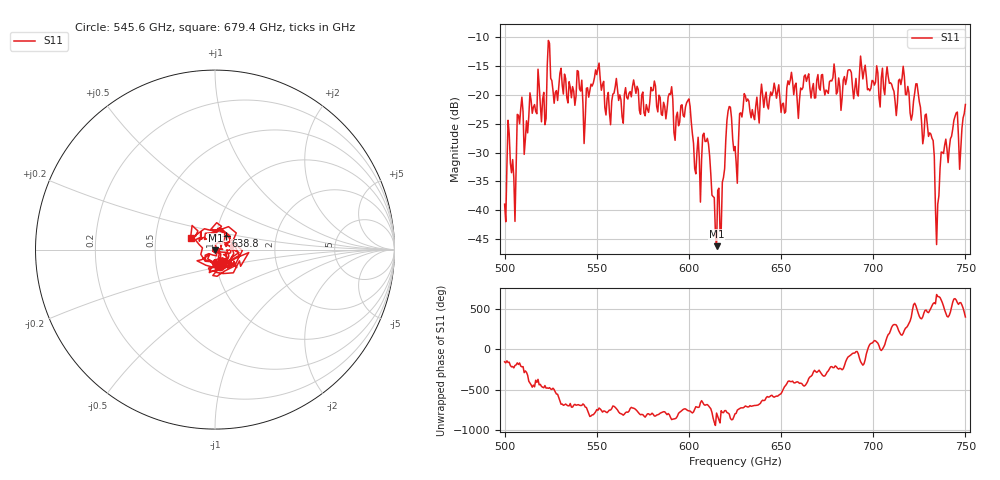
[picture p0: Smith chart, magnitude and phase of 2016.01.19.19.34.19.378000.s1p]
!Created with skrf (http://scikit-rf.org).
# GHz S RI R 50.0
!freq ReS11 ImS11
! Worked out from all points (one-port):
!   401 points, 500 GHz to 750 GHz, reference 50 ohm
!   lowest |S11| = -46.2 dB at 615 GHz (marker M1), VSWR 1.01, Z = 50.2 - j0.452 ohm
!   |S11| at or under -10 dB: start of sweep to end of sweep
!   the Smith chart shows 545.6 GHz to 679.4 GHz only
!   S11 on the Smith chart (normalised r, x): 545.6 GHz: 1.04, -0.19; 638.8 GHz: 1.11, +0.17; 679.4 GHz: 0.75, +0.10
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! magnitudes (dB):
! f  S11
! 500 GHz  -39.0
! 502.5 GHz  -26.8
! 505 GHz  -34.4
! 508.1 GHz  -25.0
! 521.2 GHz  -19.6
! 524.4 GHz  -11.1
! 531.2 GHz  -18.3
! 545.6 GHz  -20.4
! 562.5 GHz  -20.0
! 580.6 GHz  -19.2
! 593.8 GHz  -23.0
! 599.4 GHz  -21.0
! 605 GHz  -27.4
! 609.4 GHz  -28.1
! 615 GHz  -46.2
! 618.1 GHz  -35.2
! 621.9 GHz  -22.0
! 625 GHz  -29.0
! 630.6 GHz  -20.2
! 638.8 GHz  -20.5
! 656.2 GHz  -17.7
! 679.4 GHz  -16.4
! 687.5 GHz  -15.7
! 718.8 GHz  -18.5
! 731.9 GHz  -27.5
! 735 GHz  -39.0
! 738.1 GHz  -30.2
! 750 GHz  -21.7
